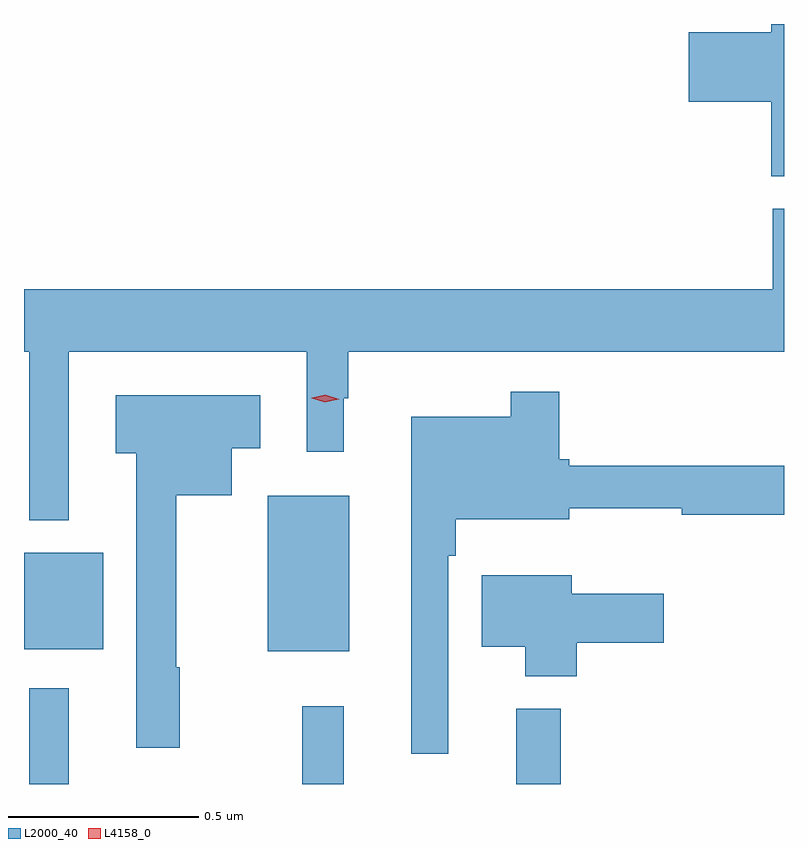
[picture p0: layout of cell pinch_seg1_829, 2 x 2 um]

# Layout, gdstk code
import gdstk
lib = gdstk.Library(unit=1e-6, precision=1e-09)
def R(c, l, rs):  # rectangles x0, y0, x1, y1
    for r in rs: c.add(gdstk.rectangle(r[:2], r[2:], *l))
def P(c, l, *ps):  # polygons
    for p in ps: c.add(gdstk.Polygon(p, *l))
L2000_40 = (2000, 40)
L4158_0 = (4158, 0)

pinch_seg1_829 = lib.new_cell('pinch_seg1_829')
R(pinch_seg1_829, L2000_40, [(417.143,558.586,417.247,558.838), (417.861,558.586,417.971,558.79), (418.424,558.586,418.541,558.784), (417.77,558.935,417.985,559.345), (417.129,558.941,417.337,559.195)])
P(pinch_seg1_829, L2000_40, [(419.129,560.586),(419.096,560.586),(419.096,560.564),(418.878,560.564),(418.878,560.381),(419.096,560.381),(419.096,560.185),(419.129,560.185)],
  [(417.247,559.724),(417.873,559.724),(417.873,559.461),(417.97,559.461),(417.97,559.601),(417.982,559.601),(417.982,559.724),(419.129,559.724),(419.129,560.1),(419.099,560.1),(419.099,559.888),(417.129,559.888),(417.129,559.724),(417.143,559.724),(417.143,559.28),(417.247,559.28)],
  [(418.245,559.187),(418.265,559.187),(418.265,559.283),(418.564,559.283),(418.564,559.312),(418.86,559.312),(418.86,559.294),(419.129,559.294),(419.129,559.423),(418.564,559.423),(418.564,559.441),(418.538,559.441),(418.538,559.618),(418.41,559.618),(418.41,559.552),(418.148,559.552),(418.148,558.666),(418.245,558.666)],
  [(417.539,558.893),(417.529,558.893),(417.529,559.346),(417.676,559.346),(417.676,559.469),(417.751,559.469),(417.751,559.609),(417.371,559.609),(417.371,559.457),(417.425,559.457),(417.425,558.681),(417.539,558.681)],
  [(418.583,558.958),(418.813,558.958),(418.813,559.087),(418.57,559.087),(418.57,559.135),(418.334,559.135),(418.334,558.947),(418.448,558.947),(418.448,558.869),(418.583,558.869)])
P(pinch_seg1_829, L4158_0, [(417.921,559.59),(417.886,559.601),(417.886,559.602),(417.886,559.602),(417.922,559.61),(417.958,559.599),(417.958,559.598),(417.958,559.598)])

lib.write_gds('pinch_seg1_829.gds')
